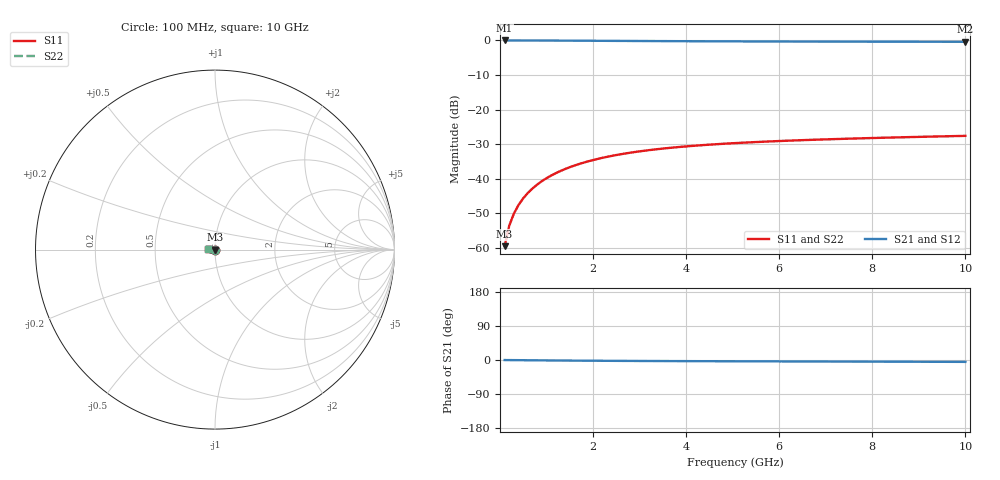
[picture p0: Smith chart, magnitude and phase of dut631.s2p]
! Touchstone file exported from HFSS 2024.1.0
!  File:  C:/UserFiles/LocalFiles/RDL_TSV_Batchsim/temp_TSV1_631_1779790207.aedt
!  Generated:  06:14:58 PM May 26, 2026
!  Design:  TSV1
!  Project:  temp_TSV1_631_1779790207
!  Setup:  Setup1
!  Solution:  Sweep
! Variables:
!  dtsv = 8.92um
!  hbump = 3um
!  htsv = 76.72um
!  lrdl = 252.1521522um
!  p = 40
!  p1 = 47.66um
!  t = 500um
!  trdl = 3um
!  wrdl = 24.89489489um
# GHz S MA R 50.000000
! Terminal data exported
! Port[1] = TSV22_T1
! Port[2] = TSV22_T2
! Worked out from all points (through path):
!   100 points, 100 MHz to 10 GHz, reference 50 ohm
!   highest |S21| = 0.00 dB at 100 MHz (marker M1); lowest = -0.4 dB at 10 GHz (marker M2)
!   lowest |S11| = -59.6 dB at 100 MHz (marker M3), VSWR 1.00, Z = 50 - j0.104 ohm
!   |S11| at or under -10 dB: start of sweep to end of sweep
!   |S22| runs from -59.6 to -27.6 dB; largest |S21 - S12| = 4.5e-15
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0.1  0.00105 -82.0  0.9998 -0.1  0.9998 -0.1  0.00105 -82.0
! Gamma 0 0 0 0
! Port Impedance 50 0 50 0
0.2  0.002082 -88.4  0.9997 -0.2  0.9997 -0.2  0.002082 -88.4
0.3  0.00312 -91.8  0.9995 -0.3  0.9995 -0.3  0.00312 -91.8
0.4  0.004154 -94.4  0.9993 -0.4  0.9993 -0.4  0.004154 -94.4
0.5  0.00518 -96.7  0.999 -0.6  0.999 -0.6  0.00518 -96.7
0.6  0.006196 -98.9  0.9986 -0.7  0.9986 -0.7  0.006196 -98.9
0.7  0.007199 -100.9  0.9982 -0.8  0.9982 -0.8  0.007199 -100.9
0.8  0.008188 -102.8  0.9977 -0.9  0.9977 -0.9  0.008188 -102.8
0.9  0.009161 -104.7  0.9972 -1.0  0.9972 -1.0  0.009161 -104.7
1.1  0.01106 -108.3  0.9961 -1.2  0.9961 -1.2  0.01106 -108.3
1.4  0.01375 -113.4  0.994 -1.5  0.994 -1.5  0.01375 -113.4
1.6  0.01544 -116.7  0.9926 -1.6  0.9926 -1.6  0.01544 -116.7
1.8  0.01704 -119.8  0.991 -1.8  0.991 -1.8  0.01703 -119.8
2.1  0.01926 -124.3  0.9887 -2.0  0.9887 -2.0  0.01926 -124.3
2.5  0.02192 -129.8  0.9855 -2.3  0.9855 -2.3  0.02192 -129.8
2.9  0.02424 -134.9  0.9824 -2.5  0.9824 -2.5  0.02424 -134.9
3.4  0.02674 -140.8  0.9788 -2.7  0.9788 -2.7  0.02674 -140.8
4.2  0.02996 -148.9  0.9737 -3.1  0.9737 -3.1  0.02996 -148.9
5.1  0.03275 -156.7  0.9691 -3.4  0.9691 -3.4  0.03275 -156.7
6.7  0.03639 -168.1  0.9632 -3.9  0.9632 -3.9  0.03639 -168.1
8.4  0.03926 -177.8  0.9591 -4.4  0.9591 -4.4  0.03926 -177.8
10  0.04153 174.6  0.9563 -5.0  0.9563 -5.0  0.04153 174.6
